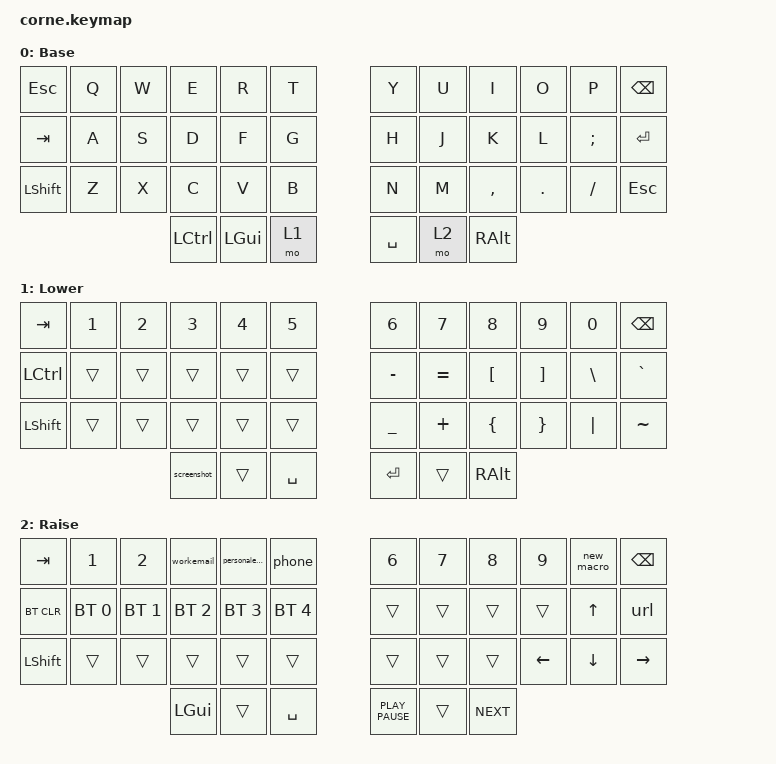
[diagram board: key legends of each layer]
/*
 * Copyright (c) 2020 The ZMK Contributors
 *
 * SPDX-License-Identifier: MIT
 */

#include <behaviors.dtsi>
#include <dt-bindings/zmk/bt.h>
#include <dt-bindings/zmk/keys.h>

/ {
    macros {
        new_macro: new_macro {
            compatible = "zmk,behavior-macro";
            #binding-cells = <0>;
            bindings = <&none &kp T &kp LS(K) &kp D &kp N9 &kp LS(R) &kp N0 &kp N2 &kp EXCL &kp F &kp LS(S)>;
            label = "NEW_MACRO";
        };

        phone: phone {
            compatible = "zmk,behavior-macro";
            #binding-cells = <0>;
            bindings = <&none &kp N6 &kp N1 &kp N7 &kp N4 &kp N6 &kp N1 &kp N7 &kp N6 &kp N7 &kp N5>;
            label = "PHONE";
        };

        url: url {
            compatible = "zmk,behavior-macro";
            #binding-cells = <0>;
            bindings = <&kp RIGHT_WIN &kp L>;
            label = "URL";
        };

        workemail: workemail {
            compatible = "zmk,behavior-macro";
            #binding-cells = <0>;
            bindings = <&none &kp J &kp O &kp R &kp D &kp A &kp N &kp UNDER &kp C &kp H &kp U &kp AT &kp H &kp A &kp R &kp V &kp A &kp R &kp D &kp DOT &kp E &kp D &kp U>;
            label = "WORKEMAIL";
        };

        personalemail: personalemail {
            compatible = "zmk,behavior-macro";
            #binding-cells = <0>;
            bindings = <&none &kp J &kp O &kp R &kp D &kp A &kp N &kp C &kp H &kp U &kp N9 &kp N5 &kp AT &kp G &kp M &kp A &kp I &kp L &kp DOT &kp C &kp O &kp M>;
            label = "PERSONALEMAIL";
        };

        screenshot: screenshot {
            compatible = "zmk,behavior-macro";
            #binding-cells = <0>;
            bindings = <&kp LEFT_SHIFT &kp LEFT_COMMAND &kp NUMBER_4>;
            label = "SCREENSHOT";
        };
    };

    keymap {
        compatible = "zmk,keymap";

        default_layer {
            // -----------------------------------------------------------------------------------------
            // |  TAB |  Q  |  W  |  E  |  R  |  T  |   |  Y  |  U   |  I  |  O  |  P  | BKSP |
            // | CTRL |  A  |  S  |  D  |  F  |  G  |   |  H  |  J   |  K  |  L  |  ;  |  '   |
            // | SHFT |  Z  |  X  |  C  |  V  |  B  |   |  N  |  M   |  ,  |  .  |  /  | ESC  |
            //                    | GUI | LWR | SPC |   | ENT | RSE  | ALT |

            display-name = "Base";
            bindings = <
&kp ESCAPE  &kp Q  &kp W  &kp E      &kp R         &kp T    &kp Y      &kp U  &kp I      &kp O    &kp P     &kp BSPC
&kp TAB     &kp A  &kp S  &kp D      &kp F         &kp G    &kp H      &kp J  &kp K      &kp L    &kp SEMI  &kp ENTER
&kp LSHFT   &kp Z  &kp X  &kp C      &kp V         &kp B    &kp N      &kp M  &kp COMMA  &kp DOT  &kp FSLH  &kp ESC
                          &kp LCTRL  &kp LEFT_GUI  &mo 1    &kp SPACE  &mo 2  &kp RALT
            >;
        };

        lower_layer {
            display-name = "Lower";
            bindings = <
&kp TAB    &kp N1  &kp N2  &kp N3       &kp N4  &kp N5       &kp N6     &kp N7     &kp N8    &kp N9    &kp N0    &kp BSPC
&kp LCTRL  &trans  &trans  &trans       &trans  &trans       &kp MINUS  &kp EQUAL  &kp LBKT  &kp RBKT  &kp BSLH  &kp GRAVE
&kp LSHFT  &trans  &trans  &trans       &trans  &trans       &kp UNDER  &kp PLUS   &kp LBRC  &kp RBRC  &kp PIPE  &kp TILDE
                           &screenshot  &trans  &kp SPACE    &kp RET    &trans     &kp RALT
            >;
        };

        raise_layer {
            // -----------------------------------------------------------------------------------------
            // |  TAB |  1  |  2  |  3  |  4  |  5  |   |  6  |  7  |  8  |  9  |  0  | BKSP |
            // | BTCLR| BT1 | BT2 | BT3 | BT4 | BT5 |   | LFT | DWN |  UP | RGT |     |      |
            // | SHFT |     |     |     |     |     |   |     |     |     |     |     |      |
            //                    | GUI |     | SPC |   | ENT |     | ALT |

            display-name = "Raise";
            bindings = <
&kp TAB     &kp N1        &kp N2        &workemail    &personalemail  &phone          &kp N6            &kp N7  &kp N8      &kp N9          &new_macro      &kp BSPC
&bt BT_CLR  &bt BT_SEL 0  &bt BT_SEL 1  &bt BT_SEL 2  &bt BT_SEL 3    &bt BT_SEL 4    &trans            &trans  &trans      &trans          &kp UP_ARROW    &url
&kp LSHFT   &trans        &trans        &trans        &trans          &trans          &trans            &trans  &trans      &kp LEFT_ARROW  &kp DOWN_ARROW  &kp RIGHT_ARROW
                                        &kp LGUI      &trans          &kp SPACE       &kp K_PLAY_PAUSE  &trans  &kp C_NEXT
            >;
        };
    };
};
